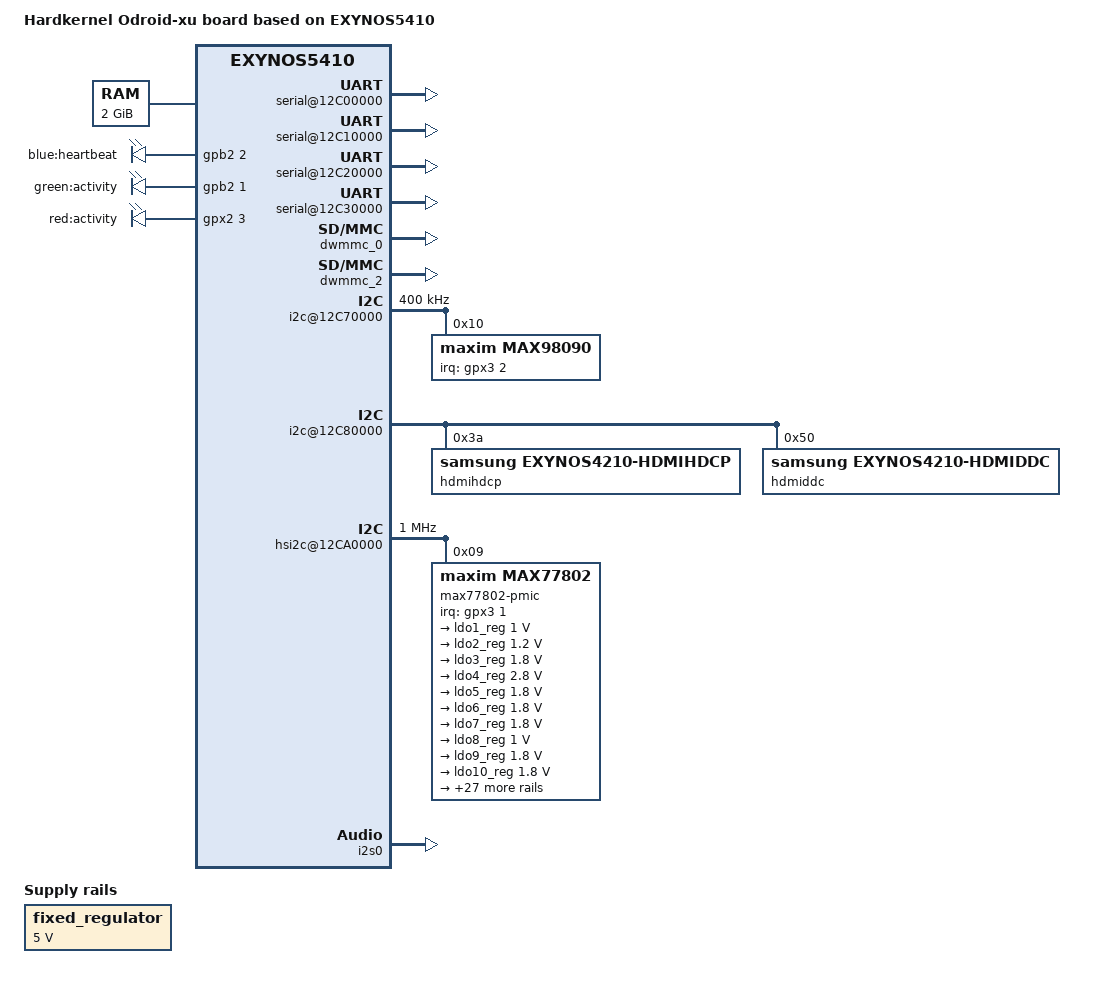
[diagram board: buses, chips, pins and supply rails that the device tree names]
/*
 * Hardkernel's Odroid-xu board device tree source
 *
 * Copyright (c) 2013 Hardkernel Co., Ltd.
 *		http://www.hardkernel.com
 *
 * This program is free software; you can redistribute it and/or modify
 * it under the terms of the GNU General Public License version 2 as
 * published by the Free Software Foundation.
*/

/dts-v1/;
#include "exynos5410.dtsi"

/ {
	model = "Hardkernel Odroid-xu board based on EXYNOS5410";
	compatible = "samsung,odroidxu", "samsung,exynos5410";

	memory {
		reg = <0x40000000 0x80000000>;
	};

	chosen {
		bootargs = "console=ttySAC2,115200n8";
	};

	firmware@02073000 {
		compatible = "samsung,secure-firmware";
		reg = <0x2073000 0x1000>;
	};

	fixed-rate-clocks {
		xxti {
			compatible = "samsung,clock-xxti";
			clock-frequency = <24000000>;
		};
	};

	serial@12C00000 {
		status = "okay";
	};	

	serial@12C10000 {
		status = "okay";
	};	
	
	serial@12C20000 {
		status = "okay";
	};

	serial@12C30000 {
		status = "okay";
	};
	
	dwmmc_0: dwmmc0@12200000 {
        status = "okay";
		num-slots = <1>;
		broken-cd;
        bypass-smu; 
		supports-highspeed;
		fifo-depth = <0x40>;
		card-detect-delay = <200>;
		samsung,dw-mshc-ciu-div = <3>;
		samsung,dw-mshc-sdr-timing = <0 4>;
		samsung,dw-mshc-ddr-timing = <0 2>;
		pinctrl-names = "default";
		pinctrl-0 = <&sd0_clk &sd0_cmd &sd0_bus4 &sd0_bus8>;

		slot@0 {
			reg = <0>;
			bus-width = <8>;
		};
	};

	dwmmc_2: dwmmc2@12220000 {
        vqmmc-supply = <&vqmmc_sdcard>;
        status = "okay";
		num-slots = <1>;
		supports-highspeed;
		fifo-depth = <0x80>;
		card-detect-delay = <200>;
		samsung,dw-mshc-ciu-div = <3>;
		samsung,dw-mshc-sdr-timing = <2 3>;
		samsung,dw-mshc-ddr-timing = <1 2>;
		pinctrl-names = "default";
		pinctrl-0 = <&sd2_clk &sd2_cmd &sd2_cd &sd2_bus4>;

		slot@0 {
			reg = <0>;
			bus-width = <4>;
			disable-wp;
		};
	};

	pinctrl@13400000 {
		max77802_irq: max77802-irq {
			samsung,pins = "gpx0-4";
			samsung,pin-function = <0>;
			samsung,pin-pud = <0>;
			samsung,pin-drv = <0>;
		};

		max98090_irq: max98090-irq {
			samsung,pins = "gpx3-2";
			samsung,pin-function = <0>;
			samsung,pin-pud = <0>;
			samsung,pin-drv = <0>;
		};

		hdmi_hpd_irq: hdmi-hpd-irq {
			samsung,pins = "gpx3-7";
			samsung,pin-function = <0>;
			samsung,pin-pud = <1>;
			samsung,pin-drv = <0>;
		};

		dp_hpd: dp-hpd {
			samsung,pins = "gpx3-0";
			samsung,pin-function = <0>;
			samsung,pin-pud = <0>;
			samsung,pin-drv = <0>;
		};
	};
 
	/* ic21 */
	i2c@12C70000 {
		status = "okay";
		clock-frequency = <400000>;
        max98090: codec@10 {
			compatible = "maxim,max98090";
			reg = <0x10>;
			interrupts = <2 0>;
			interrupt-parent = <&gpx3>;
			pinctrl-names = "default";
			pinctrl-0 = <&max98090_irq>;
		};
	};

	/* i2c2 */
	i2c@12C80000 {
		status = "okay";
		samsung,i2c-sda-delay = <100>;
		samsung,i2c-max-bus-freq = <66000>;

		hdmihdcp@3a {
			compatible = "samsung,exynos4210-hdmihdcp";
			reg = <0x3a>;
		};

		hdmiddc@50 {
			compatible = "samsung,exynos4210-hdmiddc";
			reg = <0x50>;
		};
	};

	/* hsi2c4 */
	hsi2c@12CA0000 {
		status = "okay";
		samsung,hs-mode;
		clock-frequency = <1000000>;

		max77802-pmic@9 {
			compatible = "maxim,max77802";
			interrupt-parent = <&gpx3>;
			interrupts = <1 0>;
			pinctrl-names = "default";
			pinctrl-0 = <&max77802_irq>;
			wakeup-source;
			reg = <0x9>;

			voltage-regulators {
				ldo1_reg: LDO1 {
					regulator-name = "vdd_1v0";
					regulator-min-microvolt = <1000000>;
					regulator-max-microvolt = <1000000>;
					regulator-always-on;
					regulator-op-mode = <2>;
				};
				ldo2_reg: LDO2 {
					regulator-name = "vdd_1v2";
					regulator-min-microvolt = <1200000>;
					regulator-max-microvolt = <1200000>;
				};
				ldo3_reg: LDO3 {
					regulator-name = "vdd_1v8_3";
					regulator-min-microvolt = <1800000>;
					regulator-max-microvolt = <1800000>;
					regulator-always-on;
					regulator-op-mode = <2>;
				};
				ldo4_reg: LDO4 {
					regulator-name = "ldo_04";
					regulator-min-microvolt = <2800000>;
					regulator-max-microvolt = <2800000>;
					regulator-op-mode = <0>;
				};
				ldo5_reg: LDO5 {
					regulator-name = "vdd_1v8_5";
					regulator-min-microvolt = <1800000>;
					regulator-max-microvolt = <1800000>;
					regulator-always-on;
					regulator-op-mode = <1>;
				};
				ldo6_reg: LDO6 {
					regulator-name = "vdd_1v8_6";
					regulator-min-microvolt = <1800000>;
					regulator-max-microvolt = <1800000>;
					regulator-always-on;
					regulator-op-mode = <1>;
				};
				ldo7_reg: LDO7 {
					regulator-name = "vdd_1v8_7";
					regulator-min-microvolt = <1800000>;
					regulator-max-microvolt = <1800000>;
				};
				ldo8_reg: LDO8 {
					regulator-name = "vdd_ldo8";
					regulator-min-microvolt = <1000000>;
					regulator-max-microvolt = <1000000>;
					regulator-always-on;
					regulator-op-mode = <1>;
				};
				ldo9_reg: LDO9 {
					regulator-name = "vdd_ldo9";
					regulator-min-microvolt = <1800000>;
					regulator-max-microvolt = <1800000>;
					regulator-always-on;
					regulator-op-mode = <2>;
				};
				ldo10_reg: LDO10 {
					regulator-name = "vdd_ldo10";
					regulator-min-microvolt = <1800000>;
					regulator-max-microvolt = <1800000>;
					regulator-always-on;
					regulator-op-mode = <1>;
				};
				ldo11_reg: LDO11 {
					regulator-name = "vdd_ldo11";
					regulator-min-microvolt = <1800000>;
					regulator-max-microvolt = <1800000>;
					regulator-always-on;
					regulator-op-mode = <2>;
				};
				ldo12_reg: LDO12 {
					regulator-name = "vdd_ldo12";
					regulator-min-microvolt = <3000000>;
					regulator-max-microvolt = <3000000>;
					regulator-always-on;
					regulator-op-mode = <1>;
				};
				ldo13_reg: LDO13 {
					regulator-name = "vdd_ldo13";
					regulator-min-microvolt = <1800000>;
					regulator-max-microvolt = <1800000>;
					regulator-always-on;
					regulator-op-mode = <2>;
				};
				ldo14_reg: LDO14 {
					regulator-name = "vdd_ldo14";
					regulator-min-microvolt = <1800000>;
					regulator-max-microvolt = <1800000>;
					regulator-always-on;
					regulator-op-mode = <1>;
				};
				ldo15_reg: LDO15 {
					regulator-name = "vdd_ldo15";
					regulator-min-microvolt = <1000000>;
					regulator-max-microvolt = <1000000>;
					regulator-always-on;
					regulator-op-mode = <1>;
				};
				ldo17_reg: LDO17 {
					regulator-name = "vdd_g3ds";
					regulator-min-microvolt = <900000>;
					regulator-max-microvolt = <1200000>;
					regulator-always-on;
					regulator-op-mode = <1>;
				};
				ldo18_reg: LDO18 {
					regulator-name = "ldo_18";
					regulator-min-microvolt = <1800000>;
					regulator-max-microvolt = <1800000>;
				};
				ldo20_reg: LDO20 {
					regulator-name = "ldo_20";
					regulator-min-microvolt = <1800000>;
					regulator-max-microvolt = <1800000>;
					regulator-always-on;
					regulator-op-mode = <0>;
				};
                vqmmc_sdcard: ldo21_reg: LDO21 {
					regulator-name = "vdd_sd";
					regulator-min-microvolt = <1800000>;
					regulator-max-microvolt = <3300000>;
				};
				ldo23_reg: LDO23 {
					regulator-name = "ld0_23";
					regulator-min-microvolt = <3300000>;
					regulator-max-microvolt = <3300000>;
				};
				ldo24_reg: LDO24 {
					regulator-name = "ldo_24";
					regulator-min-microvolt = <2800000>;
					regulator-max-microvolt = <2800000>;
				};
				ldo25_reg: LDO25 {
					regulator-name = "ldo_25";
					regulator-min-microvolt = <3300000>;
					regulator-max-microvolt = <3300000>;
					regulator-always-on;
				};
				ldo26_reg: LDO26 {
					regulator-name = "ldo_26";
					regulator-min-microvolt = <3300000>;
					regulator-max-microvolt = <3300000>;
				};
				ldo30_reg: LDO30 {
					regulator-name = "vdd_mifs";
					regulator-min-microvolt = <900000>;
					regulator-max-microvolt = <1050000>;
					regulator-always-on;
				};
				ldo32_reg: LDO32 {
					regulator-name = "ldo_32";
					regulator-min-microvolt = <3300000>;
					regulator-max-microvolt = <3300000>;
					regulator-always-on;
				};
				buck1_reg: BUCK1 {
					regulator-name = "vdd_mif";
					regulator-min-microvolt = <900000>;
					regulator-max-microvolt = <1300000>;
					regulator-always-on;
					regulator-boot-on;
					regulator-op-mode = <1>;
					regulator-ramp-delay = <12500>;
				};
				buck2_reg: BUCK2 {
					regulator-name = "vdd_arm";
					regulator-min-microvolt = <800000>;
					regulator-max-microvolt = <1500000>;
					regulator-always-on;
					regulator-boot-on;
					regulator-op-mode = <1>;
					regulator-ramp-delay = <12500>;
				};
				buck3_reg: BUCK3 {
					regulator-name = "vdd_int";
					regulator-min-microvolt = <800000>;
					regulator-max-microvolt = <1400000>;
					regulator-always-on;
					regulator-boot-on;
					regulator-op-mode = <1>;
					regulator-ramp-delay = <12500>;
				};
				buck4_reg: BUCK4 {
					regulator-name = "vdd_g3d";
					regulator-min-microvolt = <800000>;
					regulator-max-microvolt = <1400000>;
					/*
					 * TODO(sjg@chromium.org): Maybe remove
					 * this once things are hooked up.
					 */
					regulator-always-on;
					regulator-boot-on;
					regulator-op-mode = <1>;
					regulator-ramp-delay = <12500>;
				};
				buck5_reg: BUCK5 {
					regulator-name = "vdd_1v2";
					regulator-min-microvolt = <1200000>;
					regulator-max-microvolt = <1200000>;
					regulator-always-on;
					regulator-boot-on;
					regulator-op-mode = <3>;
				};
				buck6_reg: BUCK6 {
					regulator-name = "vdd_kfc";
					regulator-min-microvolt = <800000>;
					regulator-max-microvolt = <1500000>;
					/*
					 * TODO(sjg@chromium.org): Can this
					 * be powered off?
					 */
					regulator-always-on;
					regulator-boot-on;
					regulator-op-mode = <1>;
					regulator-ramp-delay = <12500>;
				};
				buck7_reg: BUCK7 {
					regulator-name = "vdd_1v35";
					regulator-min-microvolt = <1350000>;
					regulator-max-microvolt = <1350000>;
					regulator-always-on;
					regulator-boot-on;
					regulator-op-mode = <3>;
				};
				buck8_reg: BUCK8 {
					regulator-name = "vdd_emmc";
					regulator-min-microvolt = <2850000>;
					regulator-max-microvolt = <2850000>;
					regulator-always-on;
					regulator-boot-on;
					regulator-op-mode = <1>;
				};
				buck9_reg: BUCK9 {
					regulator-name = "vdd_2v";
					regulator-min-microvolt = <2000000>;
					regulator-max-microvolt = <2000000>;
					regulator-always-on;
					regulator-boot-on;
					regulator-op-mode = <3>;
				};
				buck10_reg: BUCK10 {
					regulator-name = "vdd_2v85";
					regulator-min-microvolt = <2800000>;
					regulator-max-microvolt = <3000000>;
					regulator-always-on;
					regulator-boot-on;
					regulator-op-mode = <3>;
				};
				en32khz_ap: EN32KHZ_AP {
					regulator-name = "en32khz_ap";
					regulator-always-on;
				};
				en32khz_cp: EN32KHZ_CP {
					regulator-name = "en32khz_cp";
					regulator-always-on;
				};
			};

			maxim_rtc: rtc {
			};
		};
    };

	fimd {
		samsung,fimd-vidout-rgb;
		samsung,fimd-inv-vclk;
		samsung,default-window = <0>;
		samsung,fimd-win-bpp = <32>;
        samsung,fimd-src-clk-rate = <266000000>;
		samsung,use-fimd-dithering;
		samsung-rgb-dithpos = <6 6 6>;
	};

	lcd_dp0: lcd_panel0 {
        /* AOC I2269V 22" */
		lcd-htiming = <172 60 80 1920>;
		lcd-vtiming = <10 10 10 1080>;
		lcd-dimensions = <256 144>;
	};

	display-port-controller {
		samsung,dp-display = <&lcd_dp0>;
		samsung,dp-frame-rate = <60>;
		samsung,color-space = <0>;
		samsung,dynamic-range = <0>;
		samsung,ycbcr-coeff = <0>;
		samsung,color-depth = <1>;
		samsung,link-rate = <0x0a>;
		samsung,lane-count = <4>;
		samsung,hpd-gpio = <&gpx3 0 0>;
		pinctrl-names = "default";
		pinctrl-0 = <&dp_hpd>;
	};

    codec@11000000 {
        samsung,mfc-r = <0x43000000 0x800000>;
        samsung,mfc-l = <0x51000000 0x800000>;
    };

    hdmi {
        hpd-gpio = <&gpx3 7 0>;
		pinctrl-names = "default";
		pinctrl-0 = <&hdmi_hpd_irq>;
        hdmi-en-supply = <&fixed_regulator>;
        vdd-supply = <&ldo8_reg>;
        vdd_osc-supply = <&ldo10_reg>;
        vdd_pll-supply = <&ldo8_reg>;
    };
    
    fixed_regulator: fixedregulator@0 {
        compatible = "regulator-fixed";
        regulator-name = "hdmi-en";
        regulator-min-microvolt = <5000000>;
        regulator-max-microvolt = <5000000>;
    };

	i2s0: i2s@03830000 {
		status = "okay";
	};

	sound {
		compatible = "google,daisy-audio-max98090";

		samsung,i2s-controller = <&i2s0>;
		samsung,audio-codec = <&max98090>;
        clocks = <&clock 3>, <&clock 4>, <&clock 1025>,
            <&clock 148>, <&clock_audss EXYNOS_MOUT_AUDSS>,
            <&clock_audss EXYNOS_MOUT_I2S>;
        clock-names = "fout_epll", "sclk_epll", "mout_audio0",
            "sclk_audio0", "mout_audss", "mout_i2s";
	};

/*
     * Use longest HW watchdog in SoC (32 seconds) since the hardware
     * watchdog provides no debugging information (compared to soft/hard
     * lockup detectors) and so should be last resort.
     */
    watchdog@101D0000 {
        timeout-sec = <32>;
    };

    leds {
        compatible = "gpio-leds";
        hearbeat {
            label = "blue:heartbeat";
            gpios = <&gpb2 2 0>;
            default-state = "off";
            linux,default-trigger = "heartbeat";
        };

        eMMC {
            label = "green:activity";
            gpios = <&gpb2 1 0>;
            default-state = "off";
            linux,default-trigger = "mmc0";
        };

        microSD {
            label = "red:activity";
            gpios = <&gpx2 3 0>;
            default-state = "off";
            linux,default-trigger = "mmc1";
        };
    };
};
